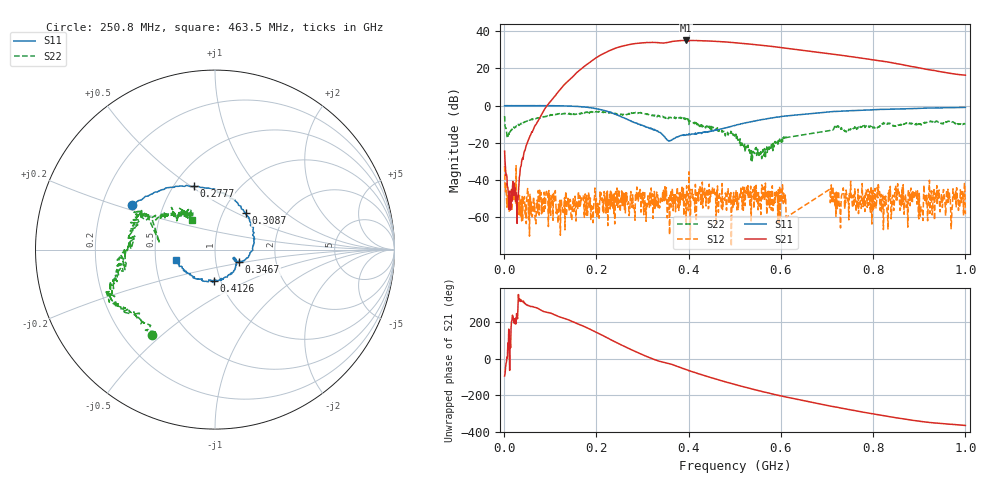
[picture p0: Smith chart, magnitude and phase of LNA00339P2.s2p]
! Created with skrf 1.9.0 (http://scikit-rf.org).
# Hz S RI R 50.0
!freq ReS11 ImS11 ReS21 ImS21 ReS12 ImS12 ReS22 ImS22
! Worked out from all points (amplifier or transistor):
!   907 points, 1 MHz to 1 GHz, reference 50 ohm
!   highest |S21| = 35.0 dB at 394.6 MHz (marker M1)
!   |S21| within 3 dB of that: 257 MHz to 572.4 MHz (315.4 MHz wide, 76 % of centre)
!   unconditionally stable (mu >= 1): 5.501 MHz to 74.61 MHz; 223.9 MHz to 400.5 MHz; 400.8 MHz to end of sweep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
!   at 151.8 MHz: K = 1.89, MAG = 30.5 dB, |S12| = -55.5 dB
!   at 453.5 MHz: K = 1.66, MAG = 35.2 dB, |S12| = -45.2 dB
!   at 1 GHz: K = 10.72, MAG = 24.1 dB, |S12| = -58.4 dB
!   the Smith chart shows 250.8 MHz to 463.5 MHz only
!   S11 on the Smith chart (normalised r, x): 250.8 MHz: 0.33, +0.22; 277.7 MHz: 0.63, +0.51; 308.7 MHz: 1.28, +0.56; 346.7 MHz: 1.30, -0.18; 412.6 MHz: 0.93, -0.34; 463.5 MHz: 0.64, -0.08
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1000000  0.9894 0.00814  -0.0042 -0.0594  -0.0235 0.0013  0.3387 0.4021
1.08892e8  0.5139 -0.8498  -0.8267 -1.536  0.0015 0.00227  0.4217 -0.3711
1.67833e8  -0.2436 -0.8986  -9.949 -0.5307  -0.0027 -0.000868  0.0462 -0.6389
2.12788e8  -0.6893 -0.3232  -15.1 18.76  0.000682 -0.00357  -0.1929 -0.6363
2.5075e8  -0.461 0.2459  6.437 37.35  -0.00158 -0.00216  -0.3485 -0.4783
2.77723e8  -0.1194 0.3525  30.72 33.4  -0.00273 -0.000553  -0.539 -0.319
3.08692e8  0.1719 0.2049  48.32 11.13  -0.00107 0.00212  -0.5563 -0.1572
3.34666e8  0.1946 -0.0188  48.03 -10.1  0.00227 -0.00228  -0.5369 -0.0556
3.46654e8  0.134 -0.0681  45.41 -16.31  -0.00139 0.00239  -0.4892 -0.00586
3.69631e8  0.116 -0.0617  43.8 -32.1  0.0029 0.00159  -0.4702 0.1508
3.94606e8  0.0706 -0.1453  28.88 -48.42  0.000418 0.000489  -0.3839 0.1641
4.12588e8  -0.00702 -0.1757  15.15 -53.88  0.000284 0.00342  -0.2772 0.1795
4.63537e8  -0.2172 -0.0585  -21.56 -48.42  0.00117 -0.00195  -0.1254 0.163
5.005e8  -0.2601 0.1291  -38 -31.26  -0.0013 -0.00336  -0.1011 0.1391
5.34466e8  -0.2042 0.3005  -42.83 -12.78  0.00373 -0.00573  -0.029 0.0551
5.71429e8  -0.0653 0.4431  -39.87 4.298  0.00274 -0.00288  -0.0682 -0.023
6.07393e8  0.1015 0.512  -31.48 16.22  0.0015 -0.00381  -0.1182 -0.0621
6.11389e8  0.1181 0.5159  -30.41 16.98  -0.000796 -0.000594  -0.1194 -0.0702
7.06294e8  0.5514 0.4096  -4.82 24.26  0.00172 -0.00543  -0.1993 -0.0792
7.1029e8  0.5566 0.4013  -4.328 24.02  -0.00227 -0.000848  -0.2094 -0.0683
8.34166e8  0.7987 0.00768  10.58 10.15  0.000407 -0.00284  -0.3232 -0.00309
1e9  0.7214 -0.5327  6.556 -0.5307  -0.00051 0.00109  -0.2214 0.2457
